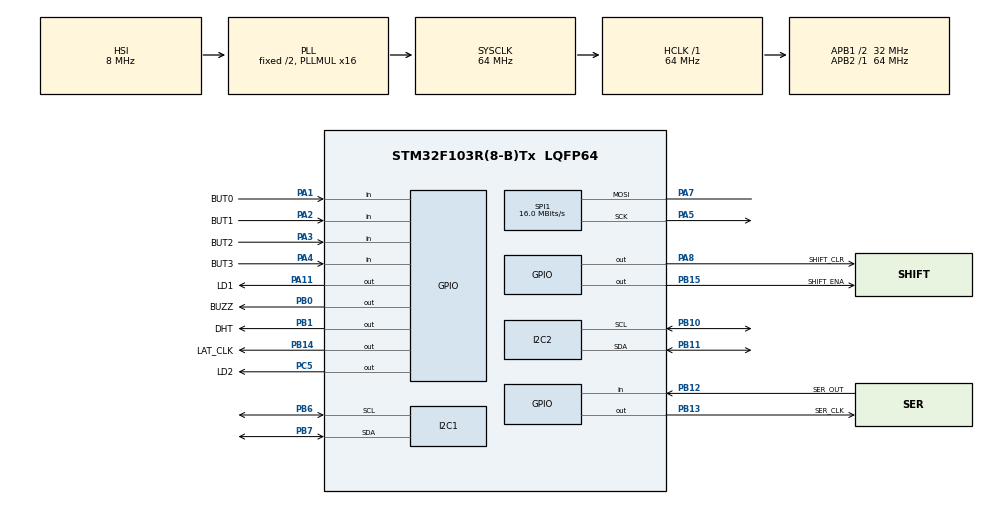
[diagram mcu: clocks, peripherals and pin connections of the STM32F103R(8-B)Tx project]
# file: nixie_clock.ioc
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FREERTOS.Tasks01=defaultTask,0,128,StartDefaultTask,Default,NULL
FREERTOS.configTIMER_TASK_PRIORITY=4
FREERTOS.configUSE_TIMERS=1
Mcu.Family=STM32F1
Mcu.Name=STM32F103R(8-B)Tx
Mcu.Package=LQFP64
NVIC.PriorityGroup=NVIC_PRIORITYGROUP_4
PA1.GPIO_Label=BUT0
PA1.Signal=GPIO_Input
PA11.GPIO_Label=LD1
PA11.Signal=GPIO_Output
PA2.GPIO_Label=BUT1
PA2.Signal=GPIO_Input
PA3.GPIO_Label=BUT2
PA3.Signal=GPIO_Input
PA4.GPIO_Label=BUT3
PA4.Signal=GPIO_Input
PA5.Mode=Simplex_Bidirectional_Master
PA5.Signal=SPI1_SCK
PA7.Mode=Simplex_Bidirectional_Master
PA7.Signal=SPI1_MOSI
PA8.GPIO_Label=SHIFT_CLR
PA8.Signal=GPIO_Output
PB0.GPIO_Label=BUZZ
PB0.Signal=GPIO_Output
PB1.GPIO_Label=DHT
PB1.Signal=GPIO_Output
PB10.Mode=I2C
PB10.Signal=I2C2_SCL
PB11.Mode=I2C
PB11.Signal=I2C2_SDA
PB12.GPIO_Label=SER_OUT
PB12.Signal=GPIO_Input
PB13.GPIO_Label=SER_CLK
PB13.Signal=GPIO_Output
PB14.GPIO_Label=LAT_CLK
PB14.Signal=GPIO_Output
PB15.GPIO_Label=SHIFT_ENA
PB15.Signal=GPIO_Output
PB6.Mode=I2C
PB6.Signal=I2C1_SCL
PB7.Mode=I2C
PB7.Signal=I2C1_SDA
PC5.GPIO_Label=LD2
PC5.Signal=GPIO_Output
ProjectManager.HeapSize=0x200
ProjectManager.StackSize=0x400
ProjectManager.TargetToolchain=SW4STM32
RCC.AHBFreq_Value=64000000
RCC.APB1CLKDivider=RCC_HCLK_DIV2
RCC.APB1Freq_Value=32000000
RCC.APB1TimFreq_Value=64000000
RCC.APB2Freq_Value=64000000
RCC.APB2TimFreq_Value=64000000
RCC.HCLKFreq_Value=64000000
RCC.PLLMUL=RCC_PLL_MUL16
RCC.SYSCLKFreq_VALUE=64000000
RCC.SYSCLKSource=RCC_SYSCLKSOURCE_PLLCLK
RCC.USBFreq_Value=64000000
SPI1.BaudRatePrescaler=SPI_BAUDRATEPRESCALER_4
SPI1.CalculateBaudRate=16.0 MBits/s
SPI1.Direction=SPI_DIRECTION_1LINE
SPI1.Mode=SPI_MODE_MASTER
SPI1.VirtualType=VM_MASTER
VP_FREERTOS_VS_ENABLE.Mode=Enabled
VP_SYS_VS_ND.Mode=No_Debug
board=nixie_clock

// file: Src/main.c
/**
  ******************************************************************************
  * File Name          : main.c
  * Description        : Main program body
  ******************************************************************************
  * This notice applies to any and all portions of this file
  * that are not between comment pairs USER CODE BEGIN and
  * USER CODE END. Other portions of this file, whether
  * inserted by the user or by software development tools
  * are owned by their respective copyright owners.
  *
  * Copyright (c) 2017 STMicroelectronics International N.V.
  * All rights reserved.
  *
  * Redistribution and use in source and binary forms, with or without
  * modification, are permitted, provided that the following conditions are met:
  *
  * 1. Redistribution of source code must retain the above copyright notice,
  *    this list of conditions and the following disclaimer.
  * 2. Redistributions in binary form must reproduce the above copyright notice,
  *    this list of conditions and the following disclaimer in the documentation
  *    and/or other materials provided with the distribution.
  * 3. Neither the name of STMicroelectronics nor the names of other
  *    contributors to this software may be used to endorse or promote products
  *    derived from this software without specific written permission.
  * 4. This software, including modifications and/or derivative works of this
  *    software, must execute solely and exclusively on microcontroller or
  *    microprocessor devices manufactured by or for STMicroelectronics.
  * 5. Redistribution and use of this software other than as permitted under
  *    this license is void and will automatically terminate your rights under
  *    this license.
  *
  * THIS SOFTWARE IS PROVIDED BY STMICROELECTRONICS AND CONTRIBUTORS "AS IS"
  * AND ANY EXPRESS, IMPLIED OR STATUTORY WARRANTIES, INCLUDING, BUT NOT
  * LIMITED TO, THE IMPLIED WARRANTIES OF MERCHANTABILITY, FITNESS FOR A
  * PARTICULAR PURPOSE AND NON-INFRINGEMENT OF THIRD PARTY INTELLECTUAL PROPERTY
  * RIGHTS ARE DISCLAIMED TO THE FULLEST EXTENT PERMITTED BY LAW. IN NO EVENT
  * SHALL STMICROELECTRONICS OR CONTRIBUTORS BE LIABLE FOR ANY DIRECT, INDIRECT,
  * INCIDENTAL, SPECIAL, EXEMPLARY, OR CONSEQUENTIAL DAMAGES (INCLUDING, BUT NOT
  * LIMITED TO, PROCUREMENT OF SUBSTITUTE GOODS OR SERVICES; LOSS OF USE, DATA,
  * OR PROFITS; OR BUSINESS INTERRUPTION) HOWEVER CAUSED AND ON ANY THEORY OF
  * LIABILITY, WHETHER IN CONTRACT, STRICT LIABILITY, OR TORT (INCLUDING
  * NEGLIGENCE OR OTHERWISE) ARISING IN ANY WAY OUT OF THE USE OF THIS SOFTWARE,
  * EVEN IF ADVISED OF THE POSSIBILITY OF SUCH DAMAGE.
  *
  ******************************************************************************
  */
#include "main.h"
#include "stm32f1xx_hal.h"
#include "cmsis_os.h"

/* USER CODE BEGIN Includes */
#include "ds3231.h"
#include "my_timers.h"
#include "render.h"
#include "buttons.h"
#include "ssd1306.h"
/* USER CODE END Includes */

I2C_HandleTypeDef hi2c1;
I2C_HandleTypeDef hi2c2;

SPI_HandleTypeDef hspi1;

osThreadId defaultTaskHandle;

/* USER CODE BEGIN PV */
/* Private variables ---------------------------------------------------------*/
osTimerId set_blink_timerHandle;
osSemaphoreId set_blink_semaphoreHandle;
osThreadId ButtonListenerTaskHandle, ScreenRenderTaskHandle;
ds3231_registers_t* registers = NULL;
TimerHandle_t rtos_blink_timer;

//LCD
SSD1306_device_t* LCD_dev;

/* USER CODE END PV */

void SystemClock_Config(void);
static void MX_GPIO_Init(void);
static void MX_I2C1_Init(void);
static void MX_SPI1_Init(void);
static void MX_I2C2_Init(void);
void StartDefaultTask(void const * argument);

/* USER CODE BEGIN PFP */
/* Private function prototypes -----------------------------------------------*/

/* USER CODE END PFP */

int main(void)
{

  /* MCU Configuration----------------------------------------------------------*/

  /* Reset of all peripherals, Initializes the Flash interface and the Systick. */
  HAL_Init();

  /* Configure the system clock */
  SystemClock_Config();

  /* Initialize all configured peripherals */
  MX_GPIO_Init();
  MX_I2C1_Init();
  MX_SPI1_Init();
  MX_I2C2_Init();

  /* USER CODE BEGIN 2 */
  ButtonsInit();
  ds3231_time_t testTime = {
  		.twelve_hour = TRUE,
  		.sec = 55,
  		.min = 59,
  		.hour = 11,
  		.pm = PM,
  		.week_day = 5,
  		.date = 31,
  		.month = 12,
  		.year = 2017
  	};
  	DS3231_set_time(&hi2c2, &testTime);

  	ds3231_alarm_t testAlarm1 = {
  		.twelve_hour = TRUE,
  		.hour = 2,
  		.min = 3,
  		.sec = 4,
  		.pm = PM,
  		.week_day = MONDAY,
  		.date = 4,
  		.date_or_day = DAY_OF_MONTH,
  		.alarm_type = ALARM_MATCH_SECONDS
  	};
  	DS3231_set_alarm(&hi2c2, &testAlarm1, ALARM_ONE);

//  	render_state = DISP_TIME;

  	ds3231_time_t test_return_time;

  	DS3231_get_time(&hi2c2, &test_return_time);

  	HAL_GPIO_WritePin(LD2_GPIO_Port, LD2_Pin, GPIO_PIN_SET);
  	HAL_GPIO_WritePin(LD1_GPIO_Port, LD1_Pin, GPIO_PIN_SET);

  	//LCD
  	SSD1306_device_init_t LCD_init_dev =
  		{ .background = White, .width = 128, .height = 64, .port = &hi2c1, .font =
  				&Font_11x18, };
  	LCD_dev = ssd1306_init(&LCD_init_dev);

  	LCD_dev->clear(LCD_dev);
  	LCD_dev->cursor(LCD_dev, 23, 23);
  	LCD_dev->string(LCD_dev, "sup");
  	LCD_dev->update(LCD_dev);

  /* USER CODE END 2 */

  /* USER CODE BEGIN RTOS_SEMAPHORES */
  /* add semaphores, ... */
    osSemaphoreDef(set_blink_semaphore);
    set_blink_semaphoreHandle = osSemaphoreCreate(osSemaphore(set_blink_semaphore), 1);
  /* USER CODE END RTOS_SEMAPHORES */

  /* USER CODE BEGIN RTOS_TIMERS */
  	osTimerDef(set_blink_timer, set_blink_timer_callback);
	set_blink_timerHandle = osTimerCreate(osTimer(set_blink_timer), osTimerPeriodic, NULL);

	rtos_blink_timer = xTimerCreate("blinkTimer", 1000, pdTRUE, 1, set_blink_timer_callback);
  /* USER CODE END RTOS_TIMERS */

  /* Create the thread(s) */
  /* definition and creation of defaultTask */
  osThreadDef(defaultTask, StartDefaultTask, osPriorityNormal, 0, 128);
  defaultTaskHandle = osThreadCreate(osThread(defaultTask), NULL);

  /* USER CODE BEGIN RTOS_THREADS */
  /* add threads, ... */
  	osThreadDef(ButtonListener, ButtonListenerTask, osPriorityNormal, 0, 128);
  	ButtonListenerTaskHandle = osThreadCreate(osThread(ButtonListener), NULL);

  	osThreadDef(ScreenRender, ScreenRenderTask, osPriorityNormal, 0, 128);
  	ScreenRenderTaskHandle = osThreadCreate(osThread(ScreenRender), NULL);
  /* USER CODE END RTOS_THREADS */

  /* Start scheduler */
  osKernelStart();

  /* We should never get here as control is now taken by the scheduler */

  /* Infinite loop */
  while (1)
  {

  }

}

/** System Clock Configuration
*/
void SystemClock_Config(void)
{

  RCC_OscInitTypeDef RCC_OscInitStruct;
  RCC_ClkInitTypeDef RCC_ClkInitStruct;

    /**Initializes the CPU, AHB and APB busses clocks
    */
  RCC_OscInitStruct.OscillatorType = RCC_OSCILLATORTYPE_HSI;
  RCC_OscInitStruct.HSIState = RCC_HSI_ON;
  RCC_OscInitStruct.HSICalibrationValue = 16;
  RCC_OscInitStruct.PLL.PLLState = RCC_PLL_ON;
  RCC_OscInitStruct.PLL.PLLSource = RCC_PLLSOURCE_HSI_DIV2;
  RCC_OscInitStruct.PLL.PLLMUL = RCC_PLL_MUL16;
  if (HAL_RCC_OscConfig(&RCC_OscInitStruct) != HAL_OK)
  {
    _Error_Handler(__FILE__, __LINE__);
  }

    /**Initializes the CPU, AHB and APB busses clocks
    */
  RCC_ClkInitStruct.ClockType = RCC_CLOCKTYPE_HCLK|RCC_CLOCKTYPE_SYSCLK
                              |RCC_CLOCKTYPE_PCLK1|RCC_CLOCKTYPE_PCLK2;
  RCC_ClkInitStruct.SYSCLKSource = RCC_SYSCLKSOURCE_PLLCLK;
  RCC_ClkInitStruct.AHBCLKDivider = RCC_SYSCLK_DIV1;
  RCC_ClkInitStruct.APB1CLKDivider = RCC_HCLK_DIV2;
  RCC_ClkInitStruct.APB2CLKDivider = RCC_HCLK_DIV1;

  if (HAL_RCC_ClockConfig(&RCC_ClkInitStruct, FLASH_LATENCY_2) != HAL_OK)
  {
    _Error_Handler(__FILE__, __LINE__);
  }

    /**Configure the Systick interrupt time
    */
  HAL_SYSTICK_Config(HAL_RCC_GetHCLKFreq()/1000);

    /**Configure the Systick
    */
  HAL_SYSTICK_CLKSourceConfig(SYSTICK_CLKSOURCE_HCLK);

  /* SysTick_IRQn interrupt configuration */
  HAL_NVIC_SetPriority(SysTick_IRQn, 15, 0);
}

/* I2C1 init function */
static void MX_I2C1_Init(void)
{

  hi2c1.Instance = I2C1;
  hi2c1.Init.ClockSpeed = 100000;
  hi2c1.Init.DutyCycle = I2C_DUTYCYCLE_2;
  hi2c1.Init.OwnAddress1 = 0;
  hi2c1.Init.AddressingMode = I2C_ADDRESSINGMODE_7BIT;
  hi2c1.Init.DualAddressMode = I2C_DUALADDRESS_DISABLE;
  hi2c1.Init.OwnAddress2 = 0;
  hi2c1.Init.GeneralCallMode = I2C_GENERALCALL_DISABLE;
  hi2c1.Init.NoStretchMode = I2C_NOSTRETCH_DISABLE;
  if (HAL_I2C_Init(&hi2c1) != HAL_OK)
  {
    _Error_Handler(__FILE__, __LINE__);
  }

}

/* I2C2 init function */
static void MX_I2C2_Init(void)
{

  hi2c2.Instance = I2C2;
  hi2c2.Init.ClockSpeed = 100000;
  hi2c2.Init.DutyCycle = I2C_DUTYCYCLE_2;
  hi2c2.Init.OwnAddress1 = 0;
  hi2c2.Init.AddressingMode = I2C_ADDRESSINGMODE_7BIT;
  hi2c2.Init.DualAddressMode = I2C_DUALADDRESS_DISABLE;
  hi2c2.Init.OwnAddress2 = 0;
  hi2c2.Init.GeneralCallMode = I2C_GENERALCALL_DISABLE;
  hi2c2.Init.NoStretchMode = I2C_NOSTRETCH_DISABLE;
  if (HAL_I2C_Init(&hi2c2) != HAL_OK)
  {
    _Error_Handler(__FILE__, __LINE__);
  }

}

/* SPI1 init function */
static void MX_SPI1_Init(void)
{

  /* SPI1 parameter configuration*/
  hspi1.Instance = SPI1;
  hspi1.Init.Mode = SPI_MODE_MASTER;
  hspi1.Init.Direction = SPI_DIRECTION_1LINE;
  hspi1.Init.DataSize = SPI_DATASIZE_8BIT;
  hspi1.Init.CLKPolarity = SPI_POLARITY_LOW;
  hspi1.Init.CLKPhase = SPI_PHASE_1EDGE;
  hspi1.Init.NSS = SPI_NSS_SOFT;
  hspi1.Init.BaudRatePrescaler = SPI_BAUDRATEPRESCALER_4;
  hspi1.Init.FirstBit = SPI_FIRSTBIT_MSB;
  hspi1.Init.TIMode = SPI_TIMODE_DISABLE;
  hspi1.Init.CRCCalculation = SPI_CRCCALCULATION_DISABLE;
  hspi1.Init.CRCPolynomial = 10;
  if (HAL_SPI_Init(&hspi1) != HAL_OK)
  {
    _Error_Handler(__FILE__, __LINE__);
  }

}

/** Configure pins as
        * Analog
        * Input
        * Output
        * EVENT_OUT
        * EXTI
*/
static void MX_GPIO_Init(void)
{

  GPIO_InitTypeDef GPIO_InitStruct;

  /* GPIO Ports Clock Enable */
  __HAL_RCC_GPIOA_CLK_ENABLE();
  __HAL_RCC_GPIOC_CLK_ENABLE();
  __HAL_RCC_GPIOB_CLK_ENABLE();

  /*Configure GPIO pin Output Level */
  HAL_GPIO_WritePin(LD2_GPIO_Port, LD2_Pin, GPIO_PIN_RESET);

  /*Configure GPIO pin Output Level */
  HAL_GPIO_WritePin(GPIOB, BUZZ_Pin|DHT_Pin|SER_CLK_Pin|LAT_CLK_Pin
                          |SHIFT_ENA_Pin, GPIO_PIN_RESET);

  /*Configure GPIO pin Output Level */
  HAL_GPIO_WritePin(GPIOA, SHIFT_CLR_Pin|LD1_Pin, GPIO_PIN_RESET);

  /*Configure GPIO pins : BUT0_Pin BUT1_Pin BUT2_Pin BUT3_Pin */
  GPIO_InitStruct.Pin = BUT0_Pin|BUT1_Pin|BUT2_Pin|BUT3_Pin;
  GPIO_InitStruct.Mode = GPIO_MODE_INPUT;
  GPIO_InitStruct.Pull = GPIO_NOPULL;
  HAL_GPIO_Init(GPIOA, &GPIO_InitStruct);

  /*Configure GPIO pin : LD2_Pin */
  GPIO_InitStruct.Pin = LD2_Pin;
  GPIO_InitStruct.Mode = GPIO_MODE_OUTPUT_PP;
  GPIO_InitStruct.Speed = GPIO_SPEED_FREQ_LOW;
  HAL_GPIO_Init(LD2_GPIO_Port, &GPIO_InitStruct);

  /*Configure GPIO pins : BUZZ_Pin DHT_Pin SER_CLK_Pin LAT_CLK_Pin
                           SHIFT_ENA_Pin */
  GPIO_InitStruct.Pin = BUZZ_Pin|DHT_Pin|SER_CLK_Pin|LAT_CLK_Pin
                          |SHIFT_ENA_Pin;
  GPIO_InitStruct.Mode = GPIO_MODE_OUTPUT_PP;
  GPIO_InitStruct.Speed = GPIO_SPEED_FREQ_LOW;
  HAL_GPIO_Init(GPIOB, &GPIO_InitStruct);

  /*Configure GPIO pin : SER_OUT_Pin */
  GPIO_InitStruct.Pin = SER_OUT_Pin;
  GPIO_InitStruct.Mode = GPIO_MODE_INPUT;
  GPIO_InitStruct.Pull = GPIO_NOPULL;
  HAL_GPIO_Init(SER_OUT_GPIO_Port, &GPIO_InitStruct);

  /*Configure GPIO pins : SHIFT_CLR_Pin LD1_Pin */
  GPIO_InitStruct.Pin = SHIFT_CLR_Pin|LD1_Pin;
  GPIO_InitStruct.Mode = GPIO_MODE_OUTPUT_PP;
  GPIO_InitStruct.Speed = GPIO_SPEED_FREQ_LOW;
  HAL_GPIO_Init(GPIOA, &GPIO_InitStruct);

}

/* StartDefaultTask function */
void StartDefaultTask(void const * argument)
{

  /* USER CODE BEGIN 5 */
  /* Infinite loop */
  for(;;)
  {
    osDelay(500);
    HAL_GPIO_TogglePin(LD1_GPIO_Port, LD1_Pin);
  }
  /* USER CODE END 5 */
}

void _Error_Handler(char * file, int line)
{
  while(1)
  {
  }
}

/************************ (C) COPYRIGHT STMicroelectronics *****END OF FILE****/
